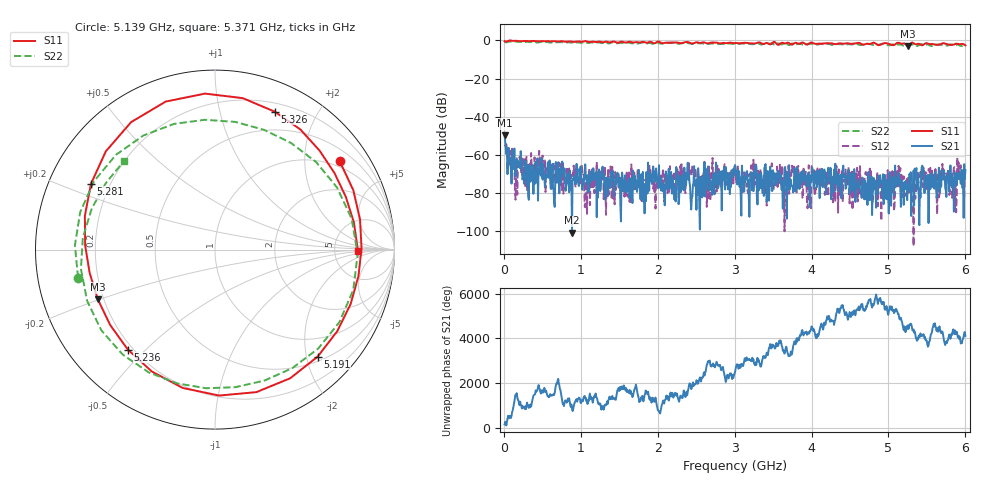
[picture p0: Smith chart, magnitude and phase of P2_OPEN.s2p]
!Keysight Technologies,N5245B,MY52501319,Z.13.01.242
!Date: Monday, February 16, 2026 14:41:54
!Correction: S11(Off)
!S21(Off)
!S12(Off)
!S22(Off)
!S2P File: Measurements: S11, S21, S12, S22:
# Hz S  RI  R 50
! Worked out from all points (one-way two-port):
!   801 points, 10 MHz to 6 GHz, reference 50 ohm
!   highest |S21| = -49.80 dB at 10 MHz (marker M1); lowest = -100.8 dB at 886 MHz (marker M2)
!   lowest |S11| = -3.0 dB at 5.251 GHz (marker M3), VSWR 5.88, Z = 8.85 - j9.87 ohm
!   |S11| at or under -10 dB: nowhere
!   |S22| runs from -3.0 to -0.6 dB; largest |S21 - S12| = 0.0038
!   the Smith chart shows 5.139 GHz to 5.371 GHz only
!   S11 on the Smith chart (normalised r, x): 5.139 GHz: 0.82, +2.93; 5.191 GHz: 0.59, -2.21; 5.236 GHz: 0.18, -0.44; 5.281 GHz: 0.13, +0.24; 5.326 GHz: 0.29, +1.48; 5.371 GHz: 8.80, -0.29
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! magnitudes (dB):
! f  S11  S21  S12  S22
! 10 MHz  -0.4  -49.8  -55.5  -1.0
! 77.39 MHz  -0.1  -61.6  -62.2  -0.6
! 294.5 MHz  -0.4  -65.2  -61.0  -0.8
! 474.2 MHz  -0.4  -65.6  -68.4  -0.9
! 886 MHz  -0.7  -100.8  -71.2  -1.2
! 1.013 GHz  -0.8  -72.4  -65.3  -1.3
! 2.009 GHz  -0.6  -77.6  -71.3  -1.4
! 2.436 GHz  -1.6  -88.6  -69.2  -1.8
! 2.646 GHz  -1.6  -72.7  -77.0  -1.8
! 3.005 GHz  -1.5  -65.3  -69.6  -1.9
! 4.008 GHz  -1.2  -66.7  -68.9  -1.8
! 5.004 GHz  -1.9  -90.7  -74.9  -2.6
! 5.139 GHz  -1.4  -72.3  -72.6  -2.2
! 5.191 GHz  -1.7  -78.1  -72.7  -2.8
! 5.236 GHz  -2.6  -76.4  -77.1  -2.2
! 5.251 GHz  -3.0  -75.9  -78.6  -1.9
! 5.281 GHz  -2.1  -75.3  -75.0  -2.2
! 5.326 GHz  -1.5  -68.3  -107.8  -2.2
! 5.371 GHz  -2.0  -78.0  -77.2  -3.0
! 5.551 GHz  -2.0  -76.6  -70.1  -3.0
! 5.633 GHz  -2.4  -81.3  -91.2  -2.1
! 6 GHz  -2.6  -67.9  -70.9  -2.2
